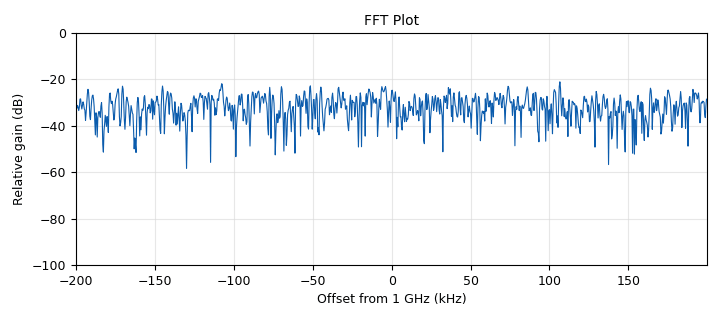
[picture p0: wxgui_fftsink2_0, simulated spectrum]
<?xml version='1.0' encoding='utf-8'?>
<?grc format='1' created='3.7.13'?>
<flow_graph>
<block>
<key>options</key>
<param><key>id</key><value>top_block</value></param>
<param><key>generate_options</key><value>wx_gui</value></param>
</block>
<block>
<key>variable_text_box</key>
<param><key>id</key><value>freq</value></param>
<param><key>converver</key><value>float_converter</value></param>
<param><key>value</key><value>1000000000</value></param>
<param><key>formatter</key><value>None</value></param>
<param><key>label</key><value>Frequencia</value></param>
</block>
<block>
<key>variable_slider</key>
<param><key>id</key><value>gain</value></param>
<param><key>converver</key><value>float_converter</value></param>
<param><key>value</key><value>30</value></param>
<param><key>label</key><value>Gain</value></param>
<param><key>max</key><value>90</value></param>
<param><key>min</key><value>0</value></param>
<param><key>num_steps</key><value>100</value></param>
<param><key>style</key><value>wx.SL_HORIZONTAL</value></param>
</block>
<block>
<key>variable</key>
<param><key>id</key><value>samp_rate</value></param>
<param><key>value</key><value>400000</value></param>
</block>
<block>
<key>variable_slider</key>
<param><key>id</key><value>sample_rate_1</value></param>
<param><key>converver</key><value>float_converter</value></param>
<param><key>value</key><value>400000</value></param>
<param><key>label</key><value>Sample Rate</value></param>
<param><key>max</key><value>20000000</value></param>
<param><key>min</key><value>0</value></param>
<param><key>num_steps</key><value>100</value></param>
<param><key>style</key><value>wx.SL_HORIZONTAL</value></param>
</block>
<block>
<key>analog_fastnoise_source_x</key>
<param><key>id</key><value>analog_fastnoise_source_x_0</value></param>
<param><key>amp</key><value>1</value></param>
<param><key>noise_type</key><value>analog.GR_GAUSSIAN</value></param>
<param><key>type</key><value>complex</value></param>
<param><key>seed</key><value>0</value></param>
<param><key>samples</key><value>8192</value></param>
</block>
<block>
<key>uhd_usrp_sink</key>
<param><key>id</key><value>uhd_usrp_sink_0</value></param>
<param><key>ant0</key><value>TX/RX</value></param>
<param><key>center_freq0</key><value>freq</value></param>
<param><key>norm_gain0</key><value>False</value></param>
<param><key>gain0</key><value>gain</value></param>
<param><key>clock_rate</key><value>0.0</value></param>
<param><key>dev_addr</key><value>"serial=F5EAC0"</value></param>
<param><key>dev_args</key><value>""</value></param>
<param><key>type</key><value>fc32</value></param>
<param><key>samp_rate</key><value>sample_rate_1</value></param>
<param><key>hide_cmd_port</key><value>False</value></param>
<param><key>hide_lo_controls</key><value>True</value></param>
<param><key>sync</key><value></value></param>
<param><key>len_tag_name</key><value></value></param>
</block>
<block>
<key>wxgui_fftsink2</key>
<param><key>id</key><value>wxgui_fftsink2_0</value></param>
<param><key>avg_alpha</key><value>0</value></param>
<param><key>average</key><value>False</value></param>
<param><key>baseband_freq</key><value>1000000000</value></param>
<param><key>fft_size</key><value>1024</value></param>
<param><key>freqvar</key><value>None</value></param>
<param><key>peak_hold</key><value>False</value></param>
<param><key>ref_level</key><value>0</value></param>
<param><key>ref_scale</key><value>2.0</value></param>
<param><key>fft_rate</key><value>15</value></param>
<param><key>samp_rate</key><value>samp_rate</value></param>
<param><key>title</key><value>FFT Plot</value></param>
<param><key>type</key><value>complex</value></param>
<param><key>win</key><value>None</value></param>
<param><key>y_divs</key><value>10</value></param>
<param><key>y_per_div</key><value>10</value></param>
</block>
<connection><source_block_id>analog_fastnoise_source_x_0</source_block_id><sink_block_id>uhd_usrp_sink_0</sink_block_id><source_key>0</source_key><sink_key>0</sink_key></connection>
<connection><source_block_id>analog_fastnoise_source_x_0</source_block_id><sink_block_id>wxgui_fftsink2_0</sink_block_id><source_key>0</source_key><sink_key>0</sink_key></connection>
</flow_graph>
